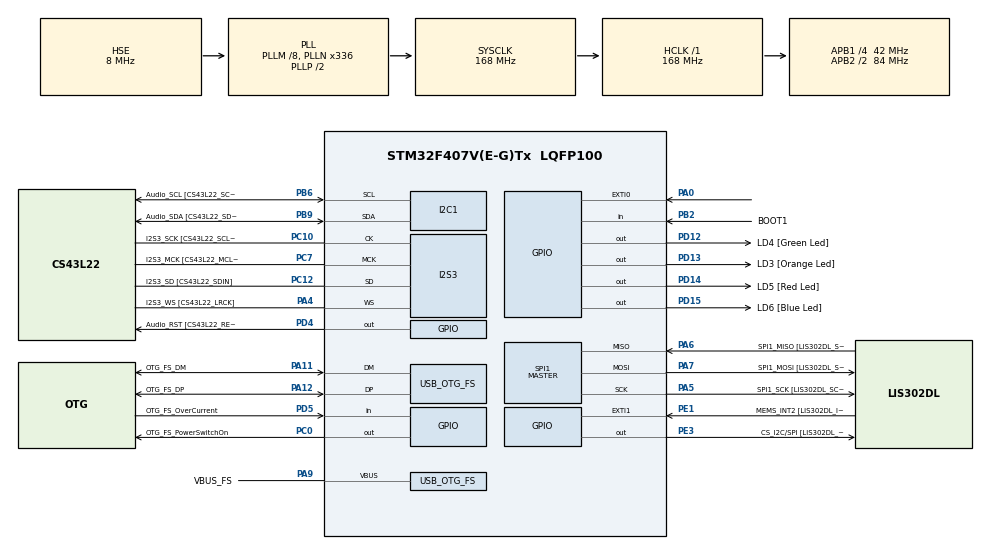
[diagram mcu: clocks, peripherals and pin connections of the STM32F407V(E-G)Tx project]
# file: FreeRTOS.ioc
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ADC1.Channel-0\#ChannelRegularConversion=ADC_CHANNEL_TEMPSENSOR
ADC1.NbrOfConversionFlag=1
ADC1.Rank-0\#ChannelRegularConversion=1
ADC1.SamplingTime-0\#ChannelRegularConversion=ADC_SAMPLETIME_3CYCLES
ADC1.master=1
FREERTOS.BinarySemaphores01=ButtonSem,Dynamic,NULL,Available
FREERTOS.Queues01=TempQueue,1,float,0,Dynamic,NULL,NULL
FREERTOS.Tasks01=defaultTask,24,128,StartDefaultTask,Default,NULL,Dynamic,NULL,NULL;TempTask,40,128,StartTempTask,Default,NULL,Dynamic,NULL,NULL;LedTask,32,128,StartLedTask,Default,NULL,Dynamic,NULL,NULL;ButtonTask,16,128,StartButtonTask,Default,NULL,Dynamic,NULL,NULL
I2S3.AudioFreq-Half_Duplex_Master=I2S_AUDIOFREQ_96K
I2S3.ErrorAudioFreq=-2.34 %
I2S3.ErrorAudioFreq-Half_Duplex_Master=0.8 %
I2S3.FullDuplexMode=I2S_FULLDUPLEXMODE_DISABLE
I2S3.Instance=SPI$Index
I2S3.RealAudioFreq=93.75 KHz
I2S3.RealAudioFreq-Half_Duplex_Master=96.774 KHz
I2S3.VirtualMode=I2S_MODE_MASTER
Mcu.Family=STM32F4
Mcu.Name=STM32F407V(E-G)Tx
Mcu.Package=LQFP100
NVIC.EXTI0_IRQn=true\:5\:0\:false\:false\:true\:true\:true\:true\:true
NVIC.OTG_FS_IRQn=true\:5\:0\:false\:false\:true\:true\:true\:true\:true
NVIC.PriorityGroup=NVIC_PRIORITYGROUP_4
NVIC.TIM1_UP_TIM10_IRQn=true\:15\:0\:false\:false\:true\:false\:false\:true\:true
NVIC.TimeBase=TIM1_UP_TIM10_IRQn
NVIC.TimeBaseIP=TIM1
PA0-WKUP.Signal=GPXTI0
PA10.GPIO_Label=OTG_FS_ID
PA10.GPIO_Mode=GPIO_MODE_AF_PP
PA10.GPIO_PuPd=GPIO_NOPULL
PA10.GPIO_Speed=GPIO_SPEED_FREQ_LOW
PA10.Signal=USB_OTG_FS_ID
PA11.GPIO_Label=OTG_FS_DM
PA11.GPIO_Mode=GPIO_MODE_AF_PP
PA11.GPIO_PuPd=GPIO_NOPULL
PA11.GPIO_Speed=GPIO_SPEED_FREQ_LOW
PA11.Mode=Host_Only
PA11.Signal=USB_OTG_FS_DM
PA12.GPIO_Label=OTG_FS_DP
PA12.GPIO_Mode=GPIO_MODE_AF_PP
PA12.GPIO_PuPd=GPIO_NOPULL
PA12.GPIO_Speed=GPIO_SPEED_FREQ_LOW
PA12.Mode=Host_Only
PA12.Signal=USB_OTG_FS_DP
PA13.GPIO_Label=SWDIO
PA13.Mode=Serial_Wire
PA13.Signal=SYS_JTMS-SWDIO
PA14.GPIO_Label=SWCLK
PA14.Mode=Serial_Wire
PA14.Signal=SYS_JTCK-SWCLK
PA4.GPIO_Label=I2S3_WS [CS43L22_LRCK]
PA4.GPIO_Mode=GPIO_MODE_AF_PP
PA4.GPIO_PuPd=GPIO_NOPULL
PA4.GPIO_Speed=GPIO_SPEED_FREQ_LOW
PA4.Mode=Half_Duplex_Master
PA4.Signal=I2S3_WS
PA5.GPIO_Label=SPI1_SCK [LIS302DL_SCL/SPC]
PA5.GPIO_Mode=GPIO_MODE_AF_PP
PA5.GPIO_PuPd=GPIO_NOPULL
PA5.GPIO_Speed=GPIO_SPEED_FREQ_LOW
PA5.Mode=Full_Duplex_Master
PA5.Signal=SPI1_SCK
PA6.GPIO_Label=SPI1_MISO [LIS302DL_SDO]
PA6.GPIO_Mode=GPIO_MODE_AF_PP
PA6.GPIO_PuPd=GPIO_NOPULL
PA6.GPIO_Speed=GPIO_SPEED_FREQ_LOW
PA6.Mode=Full_Duplex_Master
PA6.Signal=SPI1_MISO
PA7.GPIO_Label=SPI1_MOSI [LIS302DL_SDA/SDI/SDO]
PA7.GPIO_Mode=GPIO_MODE_AF_PP
PA7.GPIO_PuPd=GPIO_NOPULL
PA7.GPIO_Speed=GPIO_SPEED_FREQ_LOW
PA7.Mode=Full_Duplex_Master
PA7.Signal=SPI1_MOSI
PA9.GPIO_Label=VBUS_FS
PA9.GPIO_Mode=GPIO_MODE_INPUT
PA9.GPIO_PuPd=GPIO_NOPULL
PA9.Mode=Activate_VBUS
PA9.Signal=USB_OTG_FS_VBUS
PB10.GPIO_Label=CLK_IN [MP45DT02_CLK]
PB10.GPIO_Mode=GPIO_MODE_AF_PP
PB10.GPIO_PuPd=GPIO_NOPULL
PB10.GPIO_Speed=GPIO_SPEED_FREQ_LOW
PB10.Signal=I2S2_CK
PB2.GPIO_Label=BOOT1
PB2.GPIO_Mode=GPIO_MODE_INPUT
PB2.GPIO_PuPd=GPIO_NOPULL
PB2.Signal=GPIO_Input
PB3.GPIO_Label=SWO
PB3.Signal=SYS_JTDO-SWO
PB6.GPIO_Label=Audio_SCL [CS43L22_SCL]
PB6.GPIO_Mode=GPIO_MODE_AF_OD
PB6.GPIO_Pu=GPIO_PULLUP
PB6.GPIO_PuPd=GPIO_NOPULL
PB6.GPIO_Speed=GPIO_SPEED_FREQ_LOW
PB6.Mode=I2C
PB6.Signal=I2C1_SCL
PB9.GPIO_Label=Audio_SDA [CS43L22_SDA]
PB9.GPIO_Mode=GPIO_MODE_AF_OD
PB9.GPIO_Pu=GPIO_PULLUP
PB9.GPIO_PuPd=GPIO_NOPULL
PB9.GPIO_Speed=GPIO_SPEED_FREQ_LOW
PB9.Mode=I2C
PB9.Signal=I2C1_SDA
PC0.GPIO_Label=OTG_FS_PowerSwitchOn
PC0.GPIO_PuPd=GPIO_NOPULL
PC0.GPIO_Speed=GPIO_SPEED_FREQ_LOW
PC0.PinState=GPIO_PIN_SET
PC0.Signal=GPIO_Output
PC10.GPIO_Label=I2S3_SCK [CS43L22_SCLK]
PC10.GPIO_Mode=GPIO_MODE_AF_PP
PC10.GPIO_PuPd=GPIO_NOPULL
PC10.GPIO_Speed=GPIO_SPEED_FREQ_LOW
PC10.Mode=Half_Duplex_Master
PC10.Signal=I2S3_CK
PC12.GPIO_Label=I2S3_SD [CS43L22_SDIN]
PC12.GPIO_Mode=GPIO_MODE_AF_PP
PC12.GPIO_PuPd=GPIO_NOPULL
PC12.GPIO_Speed=GPIO_SPEED_FREQ_LOW
PC12.Mode=Half_Duplex_Master
PC12.Signal=I2S3_SD
PC14-OSC32_IN.GPIO_Label=PC14-OSC32_IN
PC14-OSC32_IN.Mode=LSE-External-Oscillator
PC14-OSC32_IN.Signal=RCC_OSC32_IN
PC15-OSC32_OUT.GPIO_Label=PC15-OSC32_OUT
PC15-OSC32_OUT.Mode=LSE-External-Oscillator
PC15-OSC32_OUT.Signal=RCC_OSC32_OUT
PC3.GPIO_Label=PDM_OUT [MP45DT02_DOUT]
PC3.GPIO_Mode=GPIO_MODE_AF_PP
PC3.GPIO_PuPd=GPIO_NOPULL
PC3.GPIO_Speed=GPIO_SPEED_FREQ_LOW
PC3.Signal=I2S2_SD
PC7.GPIO_Label=I2S3_MCK [CS43L22_MCLK]
PC7.GPIO_Mode=GPIO_MODE_AF_PP
PC7.GPIO_PuPd=GPIO_NOPULL
PC7.GPIO_Speed=GPIO_SPEED_FREQ_LOW
PC7.Mode=Master_Clock_Activated
PC7.Signal=I2S3_MCK
PD12.GPIO_Label=LD4 [Green Led]
PD12.GPIO_PuPd=GPIO_NOPULL
PD12.GPIO_Speed=GPIO_SPEED_FREQ_LOW
PD12.Signal=GPIO_Output
PD13.GPIO_Label=LD3 [Orange Led]
PD13.GPIO_PuPd=GPIO_NOPULL
PD13.GPIO_Speed=GPIO_SPEED_FREQ_LOW
PD13.Signal=GPIO_Output
PD14.GPIO_Label=LD5 [Red Led]
PD14.GPIO_PuPd=GPIO_NOPULL
PD14.GPIO_Speed=GPIO_SPEED_FREQ_LOW
PD14.Signal=GPIO_Output
PD15.GPIO_Label=LD6 [Blue Led]
PD15.GPIO_PuPd=GPIO_NOPULL
PD15.GPIO_Speed=GPIO_SPEED_FREQ_LOW
PD15.Signal=GPIO_Output
PD4.GPIO_Label=Audio_RST [CS43L22_RESET]
PD4.GPIO_PuPd=GPIO_NOPULL
PD4.GPIO_Speed=GPIO_SPEED_FREQ_LOW
PD4.Signal=GPIO_Output
PD5.GPIO_Label=OTG_FS_OverCurrent
PD5.GPIO_Mode=GPIO_MODE_INPUT
PD5.GPIO_PuPd=GPIO_NOPULL
PD5.Signal=GPIO_Input
PE1.GPIO_Label=MEMS_INT2 [LIS302DL_INT2]
PE1.GPIO_ModeDefaultEXTI=GPIO_MODE_EVT_RISING
PE1.GPIO_PuPd=GPIO_NOPULL
PE1.Signal=GPXTI1
PE3.GPIO_Label=CS_I2C/SPI [LIS302DL_CS_I2C/SPI]
PE3.GPIO_PuPd=GPIO_NOPULL
PE3.GPIO_Speed=GPIO_SPEED_FREQ_LOW
PE3.Signal=GPIO_Output
PH0-OSC_IN.GPIO_Label=PH0-OSC_IN
PH0-OSC_IN.Mode=HSE-External-Oscillator
PH0-OSC_IN.Signal=RCC_OSC_IN
PH1-OSC_OUT.GPIO_Label=PH1-OSC_OUT
PH1-OSC_OUT.Mode=HSE-External-Oscillator
PH1-OSC_OUT.Signal=RCC_OSC_OUT
ProjectManager.HeapSize=0x200
ProjectManager.StackSize=0x400
ProjectManager.TargetToolchain=STM32CubeIDE
RCC.48MHZClocksFreq_Value=48000000
RCC.AHBFreq_Value=168000000
RCC.APB1CLKDivider=RCC_HCLK_DIV4
RCC.APB1Freq_Value=42000000
RCC.APB1TimFreq_Value=84000000
RCC.APB2CLKDivider=RCC_HCLK_DIV2
RCC.APB2Freq_Value=84000000
RCC.APB2TimFreq_Value=168000000
RCC.CortexFreq_Value=168000000
RCC.HCLKFreq_Value=168000000
RCC.HSE_VALUE=8000000
RCC.HSI_VALUE=16000000
RCC.PLLM=8
RCC.PLLN=336
RCC.PLLQ=7
RCC.SYSCLKFreq_VALUE=168000000
RCC.SYSCLKSource=RCC_SYSCLKSOURCE_PLLCLK
RCC.VCOOutputFreq_Value=336000000
SPI1.BaudRatePrescaler-Full_Duplex_Master=SPI_BAUDRATEPRESCALER_2
SPI1.CalculateBaudRate-Full_Duplex_Master=42.0 MBits/s
SPI1.Direction=SPI_DIRECTION_2LINES
SPI1.Mode=SPI_MODE_MASTER
SPI1.Mode-Full_Duplex_Master=SPI_MODE_MASTER
SPI1.VirtualType=VM_MASTER
USB_HOST.BSP.number=1
USB_HOST.USBH_HandleTypeDef-CDC_FS=hUsbHostFS
USB_HOST.VirtualModeFS=Cdc
USB_HOST0.BSP.STBoard=false
USB_HOST0.BSP.api=Unknown
USB_HOST0.BSP.instance=PC0
USB_HOST0.BSP.ip=GPIO
USB_HOST0.BSP.mode=Output
USB_HOST0.BSP.name=Drive_VBUS_FS
USB_HOST0.BSP.solution=PC0
USB_OTG_FS.VirtualMode=Host_Only
USB_OTG_FS.phy_itface=HCD_PHY_EMBEDDED
VP_ADC1_TempSens_Input.Mode=IN-TempSens
VP_FREERTOS_VS_CMSIS_V2.Mode=CMSIS_V2
VP_SYS_VS_tim1.Mode=TIM1
VP_USB_HOST_VS_USB_HOST_CDC_FS.Mode=CDC_FS
board=STM32F407G-DISC1

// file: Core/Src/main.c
/* USER CODE BEGIN Header */
/**
  ******************************************************************************
  * @file           : main.c
  * @brief          : Main program body
  ******************************************************************************
  * @attention
  *
  * Copyright (c) 2026 STMicroelectronics.
  * All rights reserved.
  *
  * This software is licensed under terms that can be found in the LICENSE file
  * in the root directory of this software component.
  * If no LICENSE file comes with this software, it is provided AS-IS.
  *
  ******************************************************************************
  */
/* USER CODE END Header */
#include "main.h"
#include "cmsis_os2.h"
#include "usb_host.h"

ADC_HandleTypeDef hadc1;

I2C_HandleTypeDef hi2c1;

I2S_HandleTypeDef hi2s3;

SPI_HandleTypeDef hspi1;

/* Definitions for defaultTask */
osThreadId_t defaultTaskHandle;
const osThreadAttr_t defaultTask_attributes = {
  .name = "defaultTask",
  .stack_size = 128 * 4,
  .priority = (osPriority_t) osPriorityNormal,
};
/* Definitions for TempTask */
osThreadId_t TempTaskHandle;
const osThreadAttr_t TempTask_attributes = {
  .name = "TempTask",
  .stack_size = 128 * 4,
  .priority = (osPriority_t) osPriorityHigh,
};
/* Definitions for LedTask */
osThreadId_t LedTaskHandle;
const osThreadAttr_t LedTask_attributes = {
  .name = "LedTask",
  .stack_size = 128 * 4,
  .priority = (osPriority_t) osPriorityAboveNormal,
};
/* Definitions for ButtonTask */
osThreadId_t ButtonTaskHandle;
const osThreadAttr_t ButtonTask_attributes = {
  .name = "ButtonTask",
  .stack_size = 128 * 4,
  .priority = (osPriority_t) osPriorityBelowNormal,
};
/* Definitions for TempQueue */
osMessageQueueId_t TempQueueHandle;
const osMessageQueueAttr_t TempQueue_attributes = {
  .name = "TempQueue"
};
/* Definitions for ButtonSem */
osSemaphoreId_t ButtonSemHandle;
const osSemaphoreAttr_t ButtonSem_attributes = {
  .name = "ButtonSem"
};
/* USER CODE BEGIN PV */
uint16_t leds[] = {GPIO_PIN_12, GPIO_PIN_13, GPIO_PIN_14, GPIO_PIN_15};
/* USER CODE END PV */

void SystemClock_Config(void);
static void MX_GPIO_Init(void);
static void MX_I2C1_Init(void);
static void MX_I2S3_Init(void);
static void MX_SPI1_Init(void);
static void MX_ADC1_Init(void);
void StartDefaultTask(void *argument);
void StartTempTask(void *argument);
void StartLedTask(void *argument);
void StartButtonTask(void *argument);

int main(void)
{

  /* MCU Configuration--------------------------------------------------------*/

  /* Reset of all peripherals, Initializes the Flash interface and the Systick. */
  HAL_Init();

  /* Configure the system clock */
  SystemClock_Config();

  /* Initialize all configured peripherals */
  MX_GPIO_Init();
  MX_I2C1_Init();
  MX_I2S3_Init();
  MX_SPI1_Init();
  MX_ADC1_Init();

  /* Init scheduler */
  osKernelInitialize();

  /* Create the semaphores(s) */
  /* creation of ButtonSem */
  ButtonSemHandle = osSemaphoreNew(1, 1, &ButtonSem_attributes);

  /* Create the queue(s) */
  /* creation of TempQueue */
  TempQueueHandle = osMessageQueueNew (1, sizeof(float), &TempQueue_attributes);

  /* Create the thread(s) */
  /* creation of defaultTask */
  defaultTaskHandle = osThreadNew(StartDefaultTask, NULL, &defaultTask_attributes);

  /* creation of TempTask */
  TempTaskHandle = osThreadNew(StartTempTask, NULL, &TempTask_attributes);

  /* creation of LedTask */
  LedTaskHandle = osThreadNew(StartLedTask, NULL, &LedTask_attributes);

  /* creation of ButtonTask */
  ButtonTaskHandle = osThreadNew(StartButtonTask, NULL, &ButtonTask_attributes);

  /* Start scheduler */
  osKernelStart();

  /* We should never get here as control is now taken by the scheduler */

  /* Infinite loop */
  while (1)
  {

  }
}

void SystemClock_Config(void)
{
  RCC_OscInitTypeDef RCC_OscInitStruct = {0};
  RCC_ClkInitTypeDef RCC_ClkInitStruct = {0};

  /** Configure the main internal regulator output voltage
  */
  __HAL_RCC_PWR_CLK_ENABLE();
  __HAL_PWR_VOLTAGESCALING_CONFIG(PWR_REGULATOR_VOLTAGE_SCALE1);

  /** Initializes the RCC Oscillators according to the specified parameters
  * in the RCC_OscInitTypeDef structure.
  */
  RCC_OscInitStruct.OscillatorType = RCC_OSCILLATORTYPE_HSE;
  RCC_OscInitStruct.HSEState = RCC_HSE_ON;
  RCC_OscInitStruct.PLL.PLLState = RCC_PLL_ON;
  RCC_OscInitStruct.PLL.PLLSource = RCC_PLLSOURCE_HSE;
  RCC_OscInitStruct.PLL.PLLM = 8;
  RCC_OscInitStruct.PLL.PLLN = 336;
  RCC_OscInitStruct.PLL.PLLP = RCC_PLLP_DIV2;
  RCC_OscInitStruct.PLL.PLLQ = 7;
  if (HAL_RCC_OscConfig(&RCC_OscInitStruct) != HAL_OK)
  {
    Error_Handler();
  }

  /** Initializes the CPU, AHB and APB buses clocks
  */
  RCC_ClkInitStruct.ClockType = RCC_CLOCKTYPE_HCLK|RCC_CLOCKTYPE_SYSCLK
                              |RCC_CLOCKTYPE_PCLK1|RCC_CLOCKTYPE_PCLK2;
  RCC_ClkInitStruct.SYSCLKSource = RCC_SYSCLKSOURCE_PLLCLK;
  RCC_ClkInitStruct.AHBCLKDivider = RCC_SYSCLK_DIV1;
  RCC_ClkInitStruct.APB1CLKDivider = RCC_HCLK_DIV4;
  RCC_ClkInitStruct.APB2CLKDivider = RCC_HCLK_DIV2;

  if (HAL_RCC_ClockConfig(&RCC_ClkInitStruct, FLASH_LATENCY_5) != HAL_OK)
  {
    Error_Handler();
  }
}

static void MX_ADC1_Init(void)
{

  ADC_ChannelConfTypeDef sConfig = {0};

  /** Configure the global features of the ADC (Clock, Resolution, Data Alignment and number of conversion)
  */
  hadc1.Instance = ADC1;
  hadc1.Init.ClockPrescaler = ADC_CLOCK_SYNC_PCLK_DIV4;
  hadc1.Init.Resolution = ADC_RESOLUTION_12B;
  hadc1.Init.ScanConvMode = DISABLE;
  hadc1.Init.ContinuousConvMode = DISABLE;
  hadc1.Init.DiscontinuousConvMode = DISABLE;
  hadc1.Init.ExternalTrigConvEdge = ADC_EXTERNALTRIGCONVEDGE_NONE;
  hadc1.Init.ExternalTrigConv = ADC_SOFTWARE_START;
  hadc1.Init.DataAlign = ADC_DATAALIGN_RIGHT;
  hadc1.Init.NbrOfConversion = 1;
  hadc1.Init.DMAContinuousRequests = DISABLE;
  hadc1.Init.EOCSelection = ADC_EOC_SINGLE_CONV;
  if (HAL_ADC_Init(&hadc1) != HAL_OK)
  {
    Error_Handler();
  }

  /** Configure for the selected ADC regular channel its corresponding rank in the sequencer and its sample time.
  */
  sConfig.Channel = ADC_CHANNEL_TEMPSENSOR;
  sConfig.Rank = 1;
  sConfig.SamplingTime = ADC_SAMPLETIME_3CYCLES;
  if (HAL_ADC_ConfigChannel(&hadc1, &sConfig) != HAL_OK)
  {
    Error_Handler();
  }

}

static void MX_I2C1_Init(void)
{

  hi2c1.Instance = I2C1;
  hi2c1.Init.ClockSpeed = 100000;
  hi2c1.Init.DutyCycle = I2C_DUTYCYCLE_2;
  hi2c1.Init.OwnAddress1 = 0;
  hi2c1.Init.AddressingMode = I2C_ADDRESSINGMODE_7BIT;
  hi2c1.Init.DualAddressMode = I2C_DUALADDRESS_DISABLE;
  hi2c1.Init.OwnAddress2 = 0;
  hi2c1.Init.GeneralCallMode = I2C_GENERALCALL_DISABLE;
  hi2c1.Init.NoStretchMode = I2C_NOSTRETCH_DISABLE;
  if (HAL_I2C_Init(&hi2c1) != HAL_OK)
  {
    Error_Handler();
  }

}

static void MX_I2S3_Init(void)
{

  hi2s3.Instance = SPI3;
  hi2s3.Init.Mode = I2S_MODE_MASTER_TX;
  hi2s3.Init.Standard = I2S_STANDARD_PHILIPS;
  hi2s3.Init.DataFormat = I2S_DATAFORMAT_16B;
  hi2s3.Init.MCLKOutput = I2S_MCLKOUTPUT_ENABLE;
  hi2s3.Init.AudioFreq = I2S_AUDIOFREQ_96K;
  hi2s3.Init.CPOL = I2S_CPOL_LOW;
  hi2s3.Init.ClockSource = I2S_CLOCK_PLL;
  hi2s3.Init.FullDuplexMode = I2S_FULLDUPLEXMODE_DISABLE;
  if (HAL_I2S_Init(&hi2s3) != HAL_OK)
  {
    Error_Handler();
  }

}

static void MX_SPI1_Init(void)
{

  /* SPI1 parameter configuration*/
  hspi1.Instance = SPI1;
  hspi1.Init.Mode = SPI_MODE_MASTER;
  hspi1.Init.Direction = SPI_DIRECTION_2LINES;
  hspi1.Init.DataSize = SPI_DATASIZE_8BIT;
  hspi1.Init.CLKPolarity = SPI_POLARITY_LOW;
  hspi1.Init.CLKPhase = SPI_PHASE_1EDGE;
  hspi1.Init.NSS = SPI_NSS_SOFT;
  hspi1.Init.BaudRatePrescaler = SPI_BAUDRATEPRESCALER_2;
  hspi1.Init.FirstBit = SPI_FIRSTBIT_MSB;
  hspi1.Init.TIMode = SPI_TIMODE_DISABLE;
  hspi1.Init.CRCCalculation = SPI_CRCCALCULATION_DISABLE;
  hspi1.Init.CRCPolynomial = 10;
  if (HAL_SPI_Init(&hspi1) != HAL_OK)
  {
    Error_Handler();
  }

}

static void MX_GPIO_Init(void)
{
  GPIO_InitTypeDef GPIO_InitStruct = {0};

  /* GPIO Ports Clock Enable */
  __HAL_RCC_GPIOE_CLK_ENABLE();
  __HAL_RCC_GPIOC_CLK_ENABLE();
  __HAL_RCC_GPIOH_CLK_ENABLE();
  __HAL_RCC_GPIOA_CLK_ENABLE();
  __HAL_RCC_GPIOB_CLK_ENABLE();
  __HAL_RCC_GPIOD_CLK_ENABLE();

  /*Configure GPIO pin Output Level */
  HAL_GPIO_WritePin(CS_I2C_SPI_GPIO_Port, CS_I2C_SPI_Pin, GPIO_PIN_RESET);

  /*Configure GPIO pin Output Level */
  HAL_GPIO_WritePin(OTG_FS_PowerSwitchOn_GPIO_Port, OTG_FS_PowerSwitchOn_Pin, GPIO_PIN_SET);

  /*Configure GPIO pin Output Level */
  HAL_GPIO_WritePin(GPIOD, LD4_Pin|LD3_Pin|LD5_Pin|LD6_Pin
                          |Audio_RST_Pin, GPIO_PIN_RESET);

  /*Configure GPIO pin : CS_I2C_SPI_Pin */
  GPIO_InitStruct.Pin = CS_I2C_SPI_Pin;
  GPIO_InitStruct.Mode = GPIO_MODE_OUTPUT_PP;
  GPIO_InitStruct.Pull = GPIO_NOPULL;
  GPIO_InitStruct.Speed = GPIO_SPEED_FREQ_LOW;
  HAL_GPIO_Init(CS_I2C_SPI_GPIO_Port, &GPIO_InitStruct);

  /*Configure GPIO pin : OTG_FS_PowerSwitchOn_Pin */
  GPIO_InitStruct.Pin = OTG_FS_PowerSwitchOn_Pin;
  GPIO_InitStruct.Mode = GPIO_MODE_OUTPUT_PP;
  GPIO_InitStruct.Pull = GPIO_NOPULL;
  GPIO_InitStruct.Speed = GPIO_SPEED_FREQ_LOW;
  HAL_GPIO_Init(OTG_FS_PowerSwitchOn_GPIO_Port, &GPIO_InitStruct);

  /*Configure GPIO pin : PDM_OUT_Pin */
  GPIO_InitStruct.Pin = PDM_OUT_Pin;
  GPIO_InitStruct.Mode = GPIO_MODE_AF_PP;
  GPIO_InitStruct.Pull = GPIO_NOPULL;
  GPIO_InitStruct.Speed = GPIO_SPEED_FREQ_LOW;
  GPIO_InitStruct.Alternate = GPIO_AF5_SPI2;
  HAL_GPIO_Init(PDM_OUT_GPIO_Port, &GPIO_InitStruct);

  /*Configure GPIO pin : PA0 */
  GPIO_InitStruct.Pin = GPIO_PIN_0;
  GPIO_InitStruct.Mode = GPIO_MODE_IT_RISING;
  GPIO_InitStruct.Pull = GPIO_NOPULL;
  HAL_GPIO_Init(GPIOA, &GPIO_InitStruct);

  /*Configure GPIO pin : BOOT1_Pin */
  GPIO_InitStruct.Pin = BOOT1_Pin;
  GPIO_InitStruct.Mode = GPIO_MODE_INPUT;
  GPIO_InitStruct.Pull = GPIO_NOPULL;
  HAL_GPIO_Init(BOOT1_GPIO_Port, &GPIO_InitStruct);

  /*Configure GPIO pin : CLK_IN_Pin */
  GPIO_InitStruct.Pin = CLK_IN_Pin;
  GPIO_InitStruct.Mode = GPIO_MODE_AF_PP;
  GPIO_InitStruct.Pull = GPIO_NOPULL;
  GPIO_InitStruct.Speed = GPIO_SPEED_FREQ_LOW;
  GPIO_InitStruct.Alternate = GPIO_AF5_SPI2;
  HAL_GPIO_Init(CLK_IN_GPIO_Port, &GPIO_InitStruct);

  /*Configure GPIO pins : LD4_Pin LD3_Pin LD5_Pin LD6_Pin
                           Audio_RST_Pin */
  GPIO_InitStruct.Pin = LD4_Pin|LD3_Pin|LD5_Pin|LD6_Pin
                          |Audio_RST_Pin;
  GPIO_InitStruct.Mode = GPIO_MODE_OUTPUT_PP;
  GPIO_InitStruct.Pull = GPIO_NOPULL;
  GPIO_InitStruct.Speed = GPIO_SPEED_FREQ_LOW;
  HAL_GPIO_Init(GPIOD, &GPIO_InitStruct);

  /*Configure GPIO pin : OTG_FS_OverCurrent_Pin */
  GPIO_InitStruct.Pin = OTG_FS_OverCurrent_Pin;
  GPIO_InitStruct.Mode = GPIO_MODE_INPUT;
  GPIO_InitStruct.Pull = GPIO_NOPULL;
  HAL_GPIO_Init(OTG_FS_OverCurrent_GPIO_Port, &GPIO_InitStruct);

  /*Configure GPIO pin : MEMS_INT2_Pin */
  GPIO_InitStruct.Pin = MEMS_INT2_Pin;
  GPIO_InitStruct.Mode = GPIO_MODE_EVT_RISING;
  GPIO_InitStruct.Pull = GPIO_NOPULL;
  HAL_GPIO_Init(MEMS_INT2_GPIO_Port, &GPIO_InitStruct);

  /* EXTI interrupt init*/
  HAL_NVIC_SetPriority(EXTI0_IRQn, 5, 0);
  HAL_NVIC_EnableIRQ(EXTI0_IRQn);

}

void StartDefaultTask(void *argument)
{
  /* init code for USB_HOST */
  MX_USB_HOST_Init();
  for(;;)
  {
    osDelay(1);
  }
}

/* USER CODE BEGIN Header_StartTempTask */

void HAL_TIM_PeriodElapsedCallback(TIM_HandleTypeDef *htim)
{
  if (htim->Instance == TIM1)
  {
    HAL_IncTick();
  }
}

void Error_Handler(void)
{
  __disable_irq();
  while (1)
  {
  }
}

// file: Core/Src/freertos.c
/* USER CODE BEGIN Header */
/**
  ******************************************************************************
  * File Name          : freertos.c
  * Description        : Code for freertos applications
  ******************************************************************************
  * @attention
  *
  * Copyright (c) 2026 STMicroelectronics.
  * All rights reserved.
  *
  * This software is licensed under terms that can be found in the LICENSE file
  * in the root directory of this software component.
  * If no LICENSE file comes with this software, it is provided AS-IS.
  *
  ******************************************************************************
  */
/* USER CODE END Header */

#include "FreeRTOS.h"
#include "task.h"
#include "main.h"
#include "cmsis_os2.h"

/* USER CODE BEGIN Variables */
/* USER CODE BEGIN Variables */
extern ADC_HandleTypeDef hadc1;
extern osMessageQueueId_t TempQueueHandle; // Connects to your thread-safe queue
extern osSemaphoreId_t ButtonSemHandle;
/* USER CODE END Variables */

/* USER CODE BEGIN FunctionPrototypes */
void StartTempTask(void *argument)
{
  /* USER CODE BEGIN StartTempTask */
  uint32_t raw_adc = 0;
  float temperature = 0.0f;

  const float VREF = 3.3f;
  const float AVG_SLOPE = 0.0025f;
  const float V25 = 0.76f;

  for(;;)
  {
    HAL_ADC_Start(&hadc1);
    if (HAL_ADC_PollForConversion(&hadc1, 10) == HAL_OK)
    {
      raw_adc = HAL_ADC_GetValue(&hadc1);
      float voltage = ((float)raw_adc / 4095.0f) * VREF;
      temperature = ((voltage - V25) / AVG_SLOPE) + 25.0f;
    }
    HAL_ADC_Stop(&hadc1);

    // MILESTONE 3: Send the live temperature value to the queue.
    // Wait 0 ticks if the queue is full (don't block here).
    osMessageQueuePut(TempQueueHandle, &temperature, 0, 0);

    // Check the sensor once every 1000ms
    osDelay(1000);
  }
  /* USER CODE END StartTempTask */
}

/* USER CODE BEGIN Header_StartLedTask */
/**
* @brief Function implementing the LedTask thread.
* @param argument: Not used
* @retval None
*/
/* USER CODE END Header_StartLedTask */
void StartLedTask(void *argument)
{
  /* USER CODE BEGIN StartLedTask */
  float rx_temperature = 0.0f;

  /* Infinite loop */
  for(;;)
  {
    // MILESTONE 3: Block indefinitely (osWaitForever) until data lands in the queue.
    if (osMessageQueueGet(TempQueueHandle, &rx_temperature, NULL, osWaitForever) == osOK)
    {
      // MILESTONE 1 (Heartbeat): Toggle the Green LED (PD12) to show the system is active
      HAL_GPIO_TogglePin(GPIOD, GPIO_PIN_12);

      // MILESTONE 3 (Threshold Check): If the chip is warm, turn on a warning.
      if (rx_temperature > 32.0f) // Set this slightly above your resting room temp
      {
        HAL_GPIO_WritePin(GPIOD, GPIO_PIN_14, GPIO_PIN_SET);   // Turn ON Red LED (PD14)
      }
      else
      {
        HAL_GPIO_WritePin(GPIOD, GPIO_PIN_14, GPIO_PIN_RESET); // Turn OFF Red LED (PD14)
      }
    }
  }
  /* USER CODE END StartLedTask */
}

void StartButtonTask(void *argument)
{
	  /* USER CODE BEGIN StartButtonTask */
	  /* Infinite loop */
for(;;)
{
    // This task sits frozen, consuming 0% CPU, waiting for the semaphore
	if (osSemaphoreAcquire(ButtonSemHandle, osWaitForever) == osOK)
	{
	// Toggle the Orange LED (PD13) to prove asynchronous execution
		HAL_GPIO_TogglePin(GPIOD, GPIO_PIN_13);
		// Hardware Debouncing: A brief task delay to absorb mechanical noise
		// inside the button contacts so one click doesn't trigger multiple times.
		osDelay(200);
	}
    /* USER CODE BEGIN 3 */
/* USER CODE END FunctionPrototypes */
}
}
/* USER CODE BEGIN Application */
void HAL_GPIO_EXTI_Callback(uint16_t GPIO_Pin)
{
	  // Check if the interrupt came from Pin 0 (the blue button pin)
	if (GPIO_Pin == GPIO_PIN_0)
{
	// Instantly release the semaphore to unlock our background button task
	osSemaphoreRelease(ButtonSemHandle);
}

}
/* USER CODE END Application */
